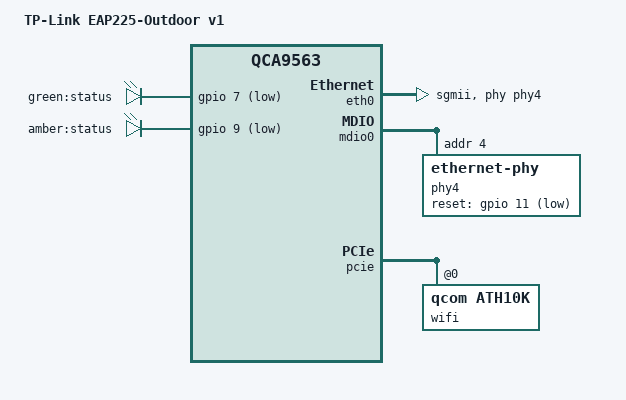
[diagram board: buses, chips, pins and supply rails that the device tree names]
// SPDX-License-Identifier: GPL-2.0-or-later OR MIT

#include "qca9563_tplink_eap2x5-1port.dtsi"

/ {
	compatible = "tplink,eap225-outdoor-v1", "qca,qca9563";
	model = "TP-Link EAP225-Outdoor v1";

	aliases {
		led-boot = &led_status_green;
		led-failsafe = &led_status_amber;
		led-running = &led_status_green;
		led-upgrade = &led_status_amber;
	};

	leds {
		compatible = "gpio-leds";

		led_status_green: status_green {
			label = "green:status";
			gpios = <&gpio 7 GPIO_ACTIVE_LOW>;
			default-state = "on";
		};

		led_status_amber: status_amber {
			label = "amber:status";
			gpios = <&gpio 9 GPIO_ACTIVE_LOW>;
		};
	};
};

&art {
	nvmem-layout {
		compatible = "fixed-layout";
		#address-cells = <1>;
		#size-cells = <1>;

		macaddr_info_8: macaddr@8 {
			compatible = "mac-base";
			reg = <0x8 0x6>;
			#nvmem-cell-cells = <1>;
		};

		precalibration_ath10k: pre-calibration@5000 {
			reg = <0x5000 0x2f20>;
		};
	};
};

&eth0 {
	phy-handle = <&phy4>;
	phy-mode = "sgmii";
};

&mdio0 {
	phy4: ethernet-phy@4 {
		reg = <4>;
		reset-gpios = <&gpio 11 GPIO_ACTIVE_LOW>;
	};
};

&pcie {
	wifi@0,0 {
		compatible = "qcom,ath10k";
		reg = <0 0 0 0 0>;

		nvmem-cells = <&macaddr_info_8 1>, <&precalibration_ath10k>;
		nvmem-cell-names = "mac-address", "pre-calibration";
	};
};
